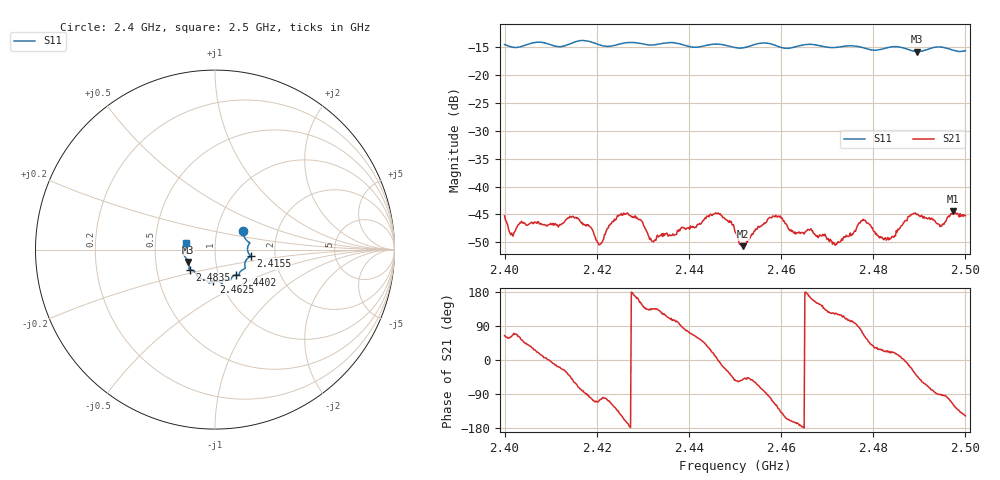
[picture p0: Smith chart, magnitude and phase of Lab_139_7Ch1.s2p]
# Hz S RI R 50
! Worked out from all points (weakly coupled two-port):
!   601 points, 2.4 GHz to 2.5 GHz, reference 50 ohm
!   highest |S21| = -44.37 dB at 2.4973 GHz (marker M1); lowest = -50.7 dB at 2.4517 GHz (marker M2)
!   lowest |S11| = -15.7 dB at 2.4895 GHz (marker M3), VSWR 1.39, Z = 36.8 - j5.15 ohm
!   |S11| at or under -10 dB: start of sweep to end of sweep
!   S12 and S22 are empty: the file has one direction only
!   S11 on the Smith chart (normalised r, x): 2.4 GHz: 1.33, +0.29; 2.4155 GHz: 1.49, -0.11; 2.4402 GHz: 1.20, -0.35; 2.4625 GHz: 0.92, -0.34; 2.4835 GHz: 0.74, -0.17; 2.5 GHz: 0.72, +0.05
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2.4e9  0.1564 0.1061  0.00236 0.00493  0 0  0 0
2.401667e9  0.1595 0.0809  0.00154 0.00332  0 0  0 0
2.4155e9  0.1979 -0.0354  0.0024 -0.0047  0 0  0 0
2.416667e9  0.2015 -0.0397  0.000965 -0.00462  0 0  0 0
2.420667e9  0.1802 -0.0505  -0.000779 -0.00291  0 0  0 0
2.426333e9  0.1685 -0.0997  -0.0054 -0.00176  0 0  0 0
2.433333e9  0.1354 -0.1338  -0.00235 0.00263  0 0  0 0
2.440167e9  0.1144 -0.1403  0.00135 0.00392  0 0  0 0
2.446e9  0.0852 -0.1709  0.00569 0.000571  0 0  0 0
2.45e9  0.0642 -0.1656  0.00239 -0.00311  0 0  0 0
2.451667e9  0.0482 -0.1695  0.00181 -0.00229  0 0  0 0
2.458e9  0.0361 -0.1871  -0.00149 -0.00504  0 0  0 0
2.4625e9  -0.00979 -0.1771  -0.00383 -0.00119  0 0  0 0
2.466667e9  -0.0336 -0.1867  -0.00378 0.00133  0 0  0 0
2.471667e9  -0.0645 -0.1655  -0.00154 0.00257  0 0  0 0
2.477833e9  -0.0986 -0.1468  0.00182 0.00475  0 0  0 0
2.483333e9  -0.1385 -0.1122  0.00311 0.00119  0 0  0 0
2.4835e9  -0.1394 -0.1119  0.0032 0.00128  0 0  0 0
2.4895e9  -0.1484 -0.0682  0.00415 -0.00377  0 0  0 0
2.494833e9  -0.1778 -0.0218  -0.000233 -0.00441  0 0  0 0
2.497333e9  -0.168 -0.00295  -0.00274 -0.00539  0 0  0 0
2.5e9  -0.1627 0.036  -0.00462 -0.00295  0 0  0 0
